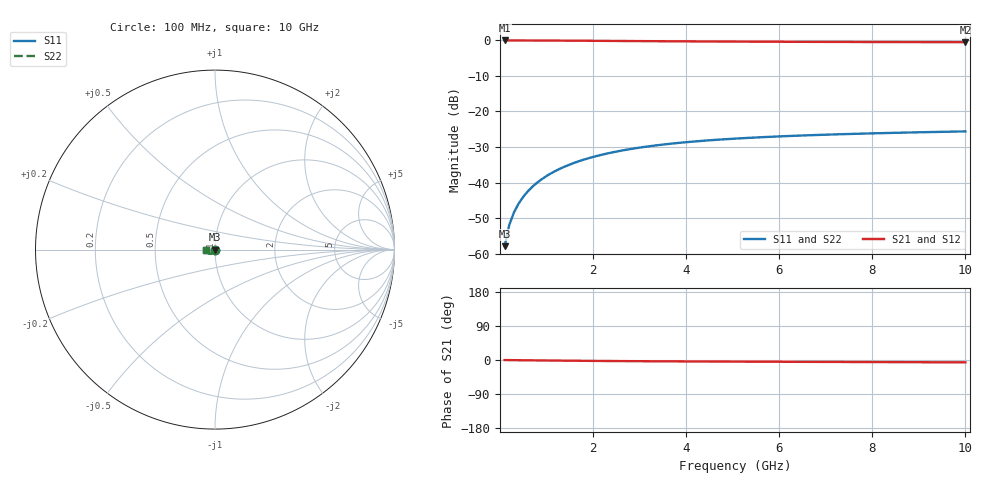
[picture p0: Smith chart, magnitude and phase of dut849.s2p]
! Touchstone file exported from HFSS 2024.1.0
!  File:  C:/UserFiles/LocalFiles/RDL_TSV_Batchsim/temp_TSV1_849_1779880781.aedt
!  Generated:  07:24:58 PM May 27, 2026
!  Design:  TSV1
!  Project:  temp_TSV1_849_1779880781
!  Setup:  Setup1
!  Solution:  Sweep
! Variables:
!  dtsv = 8.25um
!  hbump = 3um
!  htsv = 99.96um
!  lrdl = 252.1521522um
!  p = 40
!  p1 = 41.5um
!  t = 500um
!  trdl = 3um
!  wrdl = 24.89489489um
# GHz S MA R 50.000000
! Terminal data exported
! Port[1] = TSV22_T1
! Port[2] = TSV22_T2
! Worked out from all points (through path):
!   100 points, 100 MHz to 10 GHz, reference 50 ohm
!   highest |S21| = 0.00 dB at 100 MHz (marker M1); lowest = -0.5 dB at 10 GHz (marker M2)
!   lowest |S11| = -57.9 dB at 100 MHz (marker M3), VSWR 1.00, Z = 50 - j0.126 ohm
!   |S11| at or under -10 dB: start of sweep to end of sweep
!   |S22| runs from -57.9 to -25.6 dB; largest |S21 - S12| = 5e-15
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0.1  0.001271 -82.7  0.9997 -0.1  0.9997 -0.1  0.001271 -82.7
! Gamma 0 0 0 0
! Port Impedance 50 0 50 0
0.2  0.002525 -88.5  0.9995 -0.3  0.9995 -0.3  0.002525 -88.5
0.3  0.003786 -91.5  0.9993 -0.4  0.9993 -0.4  0.003786 -91.5
0.4  0.005043 -93.8  0.9991 -0.5  0.9991 -0.5  0.005043 -93.8
0.5  0.006292 -95.8  0.9988 -0.7  0.9988 -0.7  0.006292 -95.8
0.6  0.007531 -97.7  0.9984 -0.8  0.9984 -0.8  0.007531 -97.7
0.7  0.008758 -99.5  0.9979 -0.9  0.9979 -0.9  0.008758 -99.5
0.8  0.00997 -101.2  0.9975 -1.0  0.9975 -1.0  0.00997 -101.2
0.9  0.01117 -102.9  0.9969 -1.2  0.9969 -1.2  0.01117 -102.9
1.1  0.0135 -106.1  0.9957 -1.4  0.9957 -1.4  0.0135 -106.1
1.4  0.01685 -110.6  0.9935 -1.7  0.9935 -1.7  0.01685 -110.6
1.6  0.01897 -113.5  0.9918 -2.0  0.9918 -2.0  0.01897 -113.5
1.8  0.02099 -116.4  0.9901 -2.2  0.9901 -2.2  0.02099 -116.4
2.1  0.02383 -120.4  0.9874 -2.4  0.9874 -2.4  0.02383 -120.4
2.5  0.02726 -125.4  0.9837 -2.8  0.9837 -2.8  0.02726 -125.4
2.9  0.03031 -130.1  0.98 -3.1  0.98 -3.1  0.03031 -130.1
3.4  0.03361 -135.5  0.9756 -3.4  0.9756 -3.4  0.03361 -135.5
4.2  0.03793 -143.0  0.9692 -3.9  0.9692 -3.9  0.03793 -143.0
5.1  0.04168 -150.3  0.9632 -4.3  0.9632 -4.3  0.04168 -150.3
6.7  0.04644 -160.8  0.9552 -4.9  0.9552 -4.9  0.04644 -160.8
8.4  0.04994 -169.8  0.9493 -5.6  0.9493 -5.6  0.04993 -169.8
10  0.05244 -176.8  0.9454 -6.2  0.9454 -6.2  0.05244 -176.8
